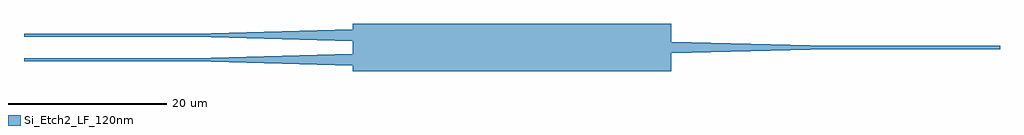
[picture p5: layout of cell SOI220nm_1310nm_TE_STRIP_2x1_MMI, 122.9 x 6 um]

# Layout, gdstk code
import gdstk
lib = gdstk.Library(unit=1e-6, precision=1e-09)
def R(c, l, rs):  # rectangles x0, y0, x1, y1
    for r in rs: c.add(gdstk.rectangle(r[:2], r[2:], *l))
def P(c, l, *ps):  # polygons
    for p in ps: c.add(gdstk.Polygon(p, *l))
Si_Etch2_LF_120nm = (3, 0)

soi220nm_1310nm_te_strip = lib.new_cell('SOI220nm_1310nm_TE_STRIP_2x1_MMI')
R(soi220nm_1310nm_te_strip, Si_Etch2_LF_120nm, [(-20.05,-3,20.05,3), (-61.45,-1.725,-40.05,-1.325), (40.05,-0.2,61.45,0.2), (-61.45,1.325,-40.05,1.725)])
P(soi220nm_1310nm_te_strip, Si_Etch2_LF_120nm, [(-20.05,-2.275),(-40.05,-1.725),(-40.05,-1.325),(-20.05,-0.775)],
  [(-20.05,0.775),(-40.05,1.325),(-40.05,1.725),(-20.05,2.275)],
  [(20.05,-0.75),(20.05,0.75),(40.05,0.2),(40.05,-0.2)])

lib.write_gds('SOI220nm_1310nm_TE_STRIP_2x1_MMI.gds')
